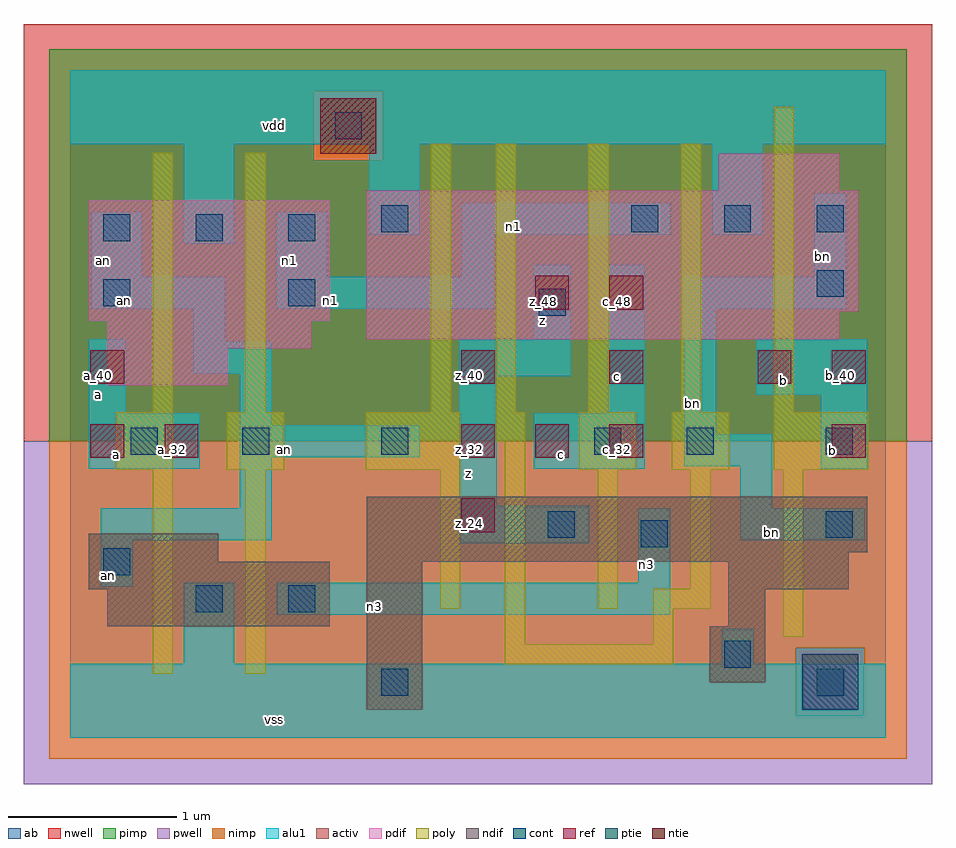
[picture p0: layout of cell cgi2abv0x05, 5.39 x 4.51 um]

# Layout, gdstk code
import gdstk
lib = gdstk.Library(unit=1e-6, precision=2.5e-09)
def R(c, l, rs):  # rectangles x0, y0, x1, y1
    for r in rs: c.add(gdstk.rectangle(r[:2], r[2:], *l))
def A(c, l, x, y, w, h, nx, ny, dx, dy):  # array of equal rectangles
    R(c, l, [(x+i*dx, y+j*dy, x+i*dx+w, y+j*dy+h) for i in range(nx) for j in range(ny)])
ndif = (3, 0)
pdif = (4, 0)
ntie = (5, 0)
ptie = (6, 0)
ref = (24, 0)
cont = (25, 0)
pwell = (41, 0)
nwell = (42, 0)
activ = (43, 0)
pimp = (44, 0)
nimp = (45, 0)
poly = (46, 0)
alu1 = (49, 0)
ab = (63, 0)

cgi2abv0x05 = lib.new_cell('cgi2abv0x05')
R(cgi2abv0x05, ndif, [(1.76,0.165,2.09,1.045), (3.795,0.33,4.125,0.66), (0.22,0.66,1.54,0.88), (3.905,0.66,4.125,0.88), (0.11,0.88,1.54,1.045), (3.905,0.88,4.62,1.045), (0.11,1.045,0.88,1.21), (1.76,1.045,4.62,1.1), (1.76,1.1,4.73,1.43)])
R(cgi2abv0x05, pdif, [(0.22,2.09,0.935,2.31), (0.22,2.31,1.43,2.475), (1.76,2.365,4.565,2.53), (0.11,2.475,1.54,3.19), (1.76,2.53,4.675,3.245), (3.85,3.245,4.565,3.465)])
R(cgi2abv0x05, ntie, [(1.485,3.465,1.815,3.795)])
R(cgi2abv0x05, ptie, [(4.345,0.165,4.675,0.495)])
A(cgi2abv0x05, ref, 2.32, 1.66, 0.2, 0.2, 3, 1, 0.44, 0)
A(cgi2abv0x05, ref, 2.32, 2.1, 0.2, 0.2, 3, 1, 0.88, 0)
R(cgi2abv0x05, ref, [(2.32,1.22,2.52,1.42), (0.12,1.66,0.32,1.86), (0.56,1.66,0.76,1.86), (4.52,1.66,4.72,1.86), (0.12,2.1,0.32,2.3), (4.52,2.1,4.72,2.3), (2.76,2.54,2.96,2.74), (3.2,2.54,3.4,2.74)])
A(cgi2abv0x05, cont, 0.195, 2.945, 0.16, 0.16, 3, 1, 0.55, 0)
A(cgi2abv0x05, cont, 3.33, 3, 0.16, 0.16, 3, 1, 0.55, 0)
R(cgi2abv0x05, cont, [(1.845,0.25,2.005,0.41), (4.43,0.25,4.59,0.41), (3.88,0.415,4.04,0.575), (0.745,0.745,0.905,0.905), (1.295,0.745,1.455,0.905), (0.195,0.965,0.355,1.125), (3.385,1.13,3.545,1.29), (2.835,1.185,2.995,1.345), (4.485,1.185,4.645,1.345), (0.36,1.68,0.52,1.84), (1.02,1.68,1.18,1.84), (1.845,1.68,2.005,1.84), (3.11,1.68,3.27,1.84), (3.66,1.68,3.82,1.84), (4.485,1.68,4.645,1.84), (2.78,2.505,2.94,2.665), (0.195,2.56,0.355,2.72), (1.295,2.56,1.455,2.72), (4.43,2.615,4.59,2.775), (1.845,3,2.005,3.16), (1.57,3.55,1.73,3.71)])
R(cgi2abv0x05, pwell, [(-0.275,-0.275,5.115,1.76)])
R(cgi2abv0x05, nwell, [(-0.275,1.76,5.115,4.235)])
R(cgi2abv0x05, activ, [(1.76,0.165,2.09,1.045), (4.345,0.165,4.675,0.495), (3.795,0.33,4.125,0.66), (0.22,0.66,1.54,0.88), (3.905,0.66,4.125,0.88), (0.11,0.88,1.54,1.045), (3.905,0.88,4.62,1.045), (0.11,1.045,0.88,1.21), (1.76,1.045,4.62,1.1), (1.76,1.1,4.73,1.43), (0.22,2.09,0.935,2.31), (0.22,2.31,1.43,2.475), (1.76,2.365,4.565,2.53), (0.11,2.475,1.54,3.19), (1.76,2.53,4.675,3.245), (3.85,3.245,4.565,3.465), (1.485,3.465,1.815,3.795)])
R(cgi2abv0x05, pimp, [(4.305,0.125,4.715,0.535), (-0.125,1.76,4.965,3.425), (-0.125,3.425,1.445,3.835), (1.855,3.425,4.965,3.835), (-0.125,3.835,4.965,4.085)])
R(cgi2abv0x05, nimp, [(-0.125,-0.125,4.965,0.125), (-0.125,0.125,4.305,0.535), (4.715,0.125,4.965,0.535), (-0.125,0.535,4.965,1.76), (1.445,3.425,1.855,3.835)])
A(cgi2abv0x05, poly, 2.525, 1.93, 0.12, 1.595, 3, 1, 0.55, 0)
R(cgi2abv0x05, poly, [(0.49,0.38,0.61,1.59), (1.04,0.38,1.16,1.59), (2.58,0.435,3.58,0.555), (2.58,0.555,2.7,1.755), (3.46,0.555,3.58,0.765), (4.23,0.6,4.35,1.59), (2.195,0.765,2.315,1.59), (3.13,0.765,3.25,1.59), (3.46,0.765,3.8,0.885), (3.68,0.885,3.8,1.59), (0.27,1.59,0.61,1.93), (0.93,1.59,1.27,1.93), (1.755,1.59,2.315,1.93), (3.02,1.59,3.36,1.93), (3.57,1.59,3.91,1.93), (4.175,1.59,4.735,1.93), (2.525,1.755,2.7,1.93), (0.49,1.93,0.61,3.47), (1.04,1.93,1.16,3.47), (2.14,1.93,2.26,3.525), (4.175,1.93,4.295,3.745)])
R(cgi2abv0x05, alu1, [(0,0,4.84,0.44), (0.675,0.44,0.975,0.92), (3.865,0.44,4.055,0.645), (1.225,0.73,3.56,0.92), (0.18,0.895,0.37,1.17), (3.37,0.92,3.56,1.36), (2.31,1.155,3.08,1.375), (0.18,1.17,1.195,1.36), (3.975,1.17,4.715,1.36), (1.005,1.36,1.195,1.665), (3.975,1.36,4.165,1.61), (2.31,1.375,2.53,2.145), (0.11,1.595,0.77,1.925), (2.75,1.595,3.41,1.925), (4.455,1.595,4.73,2.035), (3.645,1.61,4.165,1.8), (1.005,1.665,2.075,1.855), (3.645,1.8,3.835,2.545), (1.005,1.855,1.195,2.16), (0.11,1.925,0.33,2.365), (3.19,1.925,3.41,2.805), (4.07,2.035,4.73,2.365), (2.31,2.145,2.97,2.365), (0.73,2.16,1.195,2.35), (0.73,2.35,0.92,2.545), (2.75,2.365,2.97,2.805), (0.125,2.545,0.92,2.735), (1.225,2.545,2.515,2.735), (3.645,2.545,4.605,2.735), (0.125,2.735,0.425,3.12), (1.225,2.735,1.525,3.12), (2.325,2.735,2.515,2.985), (4.415,2.735,4.605,3.23), (0.675,2.93,0.975,3.52), (1.775,2.985,2.075,3.52), (2.325,2.985,3.56,3.175), (3.81,2.985,4.11,3.52), (0,3.52,4.84,3.96)])
R(cgi2abv0x05, ab, [(0,0,4.84,3.96)])
cgi2abv0x05.add(gdstk.Label('vss', (1.21,0.11), layer=49, texttype=0))
cgi2abv0x05.add(gdstk.Label('n3', (1.8075,0.7775), layer=49, texttype=0))
cgi2abv0x05.add(gdstk.Label('bn', (4.16,1.2175), layer=49, texttype=0))
cgi2abv0x05.add(gdstk.Label('n3', (3.4175,1.03), layer=49, texttype=0))
cgi2abv0x05.add(gdstk.Label('b', (4.5225,1.705), layer=49, texttype=0))
cgi2abv0x05.add(gdstk.Label('an', (0.2275,0.9625), layer=49, texttype=0))
cgi2abv0x05.add(gdstk.Label('b', (4.235,2.1175), layer=49, texttype=0))
cgi2abv0x05.add(gdstk.Label('bn', (3.6925,1.985), layer=49, texttype=0))
cgi2abv0x05.add(gdstk.Label('c', (2.915,1.6775), layer=49, texttype=0))
cgi2abv0x05.add(gdstk.Label('bn', (4.4625,2.8575), layer=49, texttype=0))
cgi2abv0x05.add(gdstk.Label('c', (3.245,2.145), layer=49, texttype=0))
cgi2abv0x05.add(gdstk.Label('z', (2.365,1.5675), layer=49, texttype=0))
cgi2abv0x05.add(gdstk.Label('an', (1.2725,1.7125), layer=49, texttype=0))
cgi2abv0x05.add(gdstk.Label('a', (0.275,1.6775), layer=49, texttype=0))
cgi2abv0x05.add(gdstk.Label('z', (2.805,2.475), layer=49, texttype=0))
cgi2abv0x05.add(gdstk.Label('a', (0.165,2.035), layer=49, texttype=0))
cgi2abv0x05.add(gdstk.Label('n1', (1.5475,2.5925), layer=49, texttype=0))
cgi2abv0x05.add(gdstk.Label('an', (0.3225,2.5925), layer=49, texttype=0))
cgi2abv0x05.add(gdstk.Label('n1', (2.6325,3.0325), layer=49, texttype=0))
cgi2abv0x05.add(gdstk.Label('n1', (1.3,2.83), layer=49, texttype=0))
cgi2abv0x05.add(gdstk.Label('an', (0.2,2.83), layer=49, texttype=0))
cgi2abv0x05.add(gdstk.Label('vdd', (1.21,3.63), layer=49, texttype=0))
cgi2abv0x05.add(gdstk.Label('a_32', (0.61,1.71), layer=24, texttype=0))
cgi2abv0x05.add(gdstk.Label('a_32', (0.17,1.71), layer=24, texttype=0))
cgi2abv0x05.add(gdstk.Label('a_40', (0.17,2.15), layer=24, texttype=0))
cgi2abv0x05.add(gdstk.Label('z_24', (2.37,1.27), layer=24, texttype=0))
cgi2abv0x05.add(gdstk.Label('z_32', (2.37,1.71), layer=24, texttype=0))
cgi2abv0x05.add(gdstk.Label('z_40', (2.37,2.15), layer=24, texttype=0))
cgi2abv0x05.add(gdstk.Label('c_32', (2.81,1.71), layer=24, texttype=0))
cgi2abv0x05.add(gdstk.Label('z_48', (2.81,2.59), layer=24, texttype=0))
cgi2abv0x05.add(gdstk.Label('c_32', (3.25,1.71), layer=24, texttype=0))
cgi2abv0x05.add(gdstk.Label('c_40', (3.25,2.15), layer=24, texttype=0))
cgi2abv0x05.add(gdstk.Label('c_48', (3.25,2.59), layer=24, texttype=0))
cgi2abv0x05.add(gdstk.Label('b_40', (4.13,2.15), layer=24, texttype=0))
cgi2abv0x05.add(gdstk.Label('b_32', (4.57,1.71), layer=24, texttype=0))
cgi2abv0x05.add(gdstk.Label('b_40', (4.57,2.15), layer=24, texttype=0))

lib.write_gds('cgi2abv0x05.gds')
